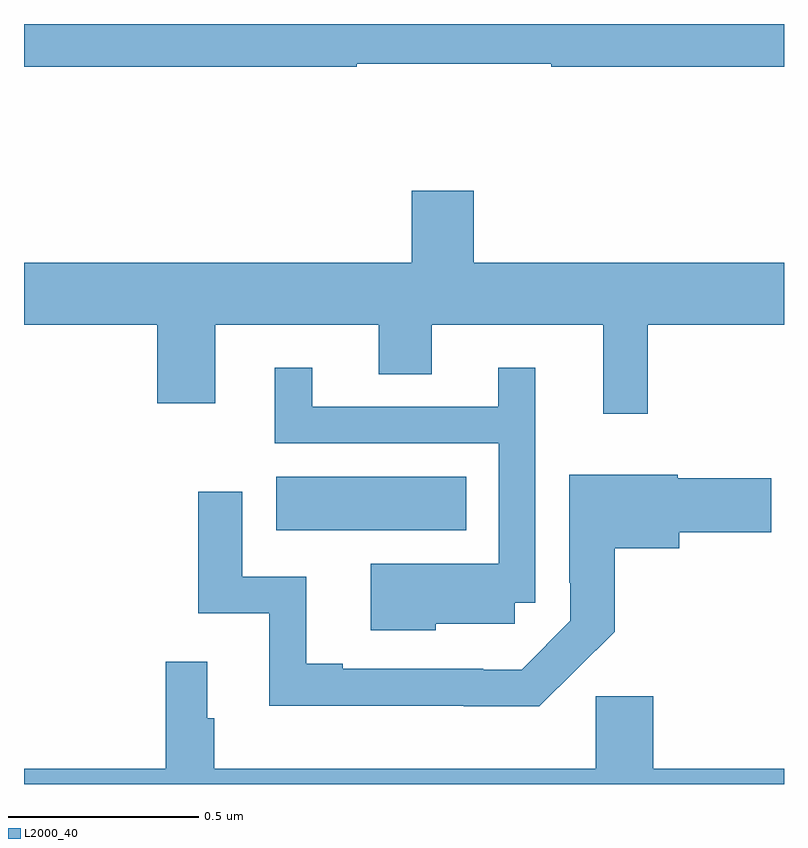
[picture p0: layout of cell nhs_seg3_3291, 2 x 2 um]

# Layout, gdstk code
import gdstk
lib = gdstk.Library(unit=1e-6, precision=1e-09)
def R(c, l, rs):  # rectangles x0, y0, x1, y1
    for r in rs: c.add(gdstk.rectangle(r[:2], r[2:], *l))
def P(c, l, *ps):  # polygons
    for p in ps: c.add(gdstk.Polygon(p, *l))
L2000_40 = (2000, 40)

nhs_seg3_3291 = lib.new_cell('nhs_seg3_3291')
R(nhs_seg3_3291, L2000_40, [(152.664,675.068,153.164,675.208)])
P(nhs_seg3_3291, L2000_40, [(152.875,676.296),(153.388,676.296),(153.388,676.288),(154,676.288),(154,676.4),(152,676.4),(152,676.288),(152.875,676.288)],
  [(153.02,675.961),(153.02,675.772),(152,675.772),(152,675.608),(152.351,675.608),(152.351,675.402),(152.503,675.402),(152.503,675.608),(152.933,675.608),(152.933,675.478),(153.073,675.478),(153.073,675.608),(153.524,675.608),(153.524,675.375),(153.641,675.375),(153.641,675.608),(154,675.608),(154,675.772),(153.184,675.772),(153.184,675.961)],
  [(153.084,674.822),(153.291,674.822),(153.291,674.877),(153.345,674.877),(153.345,675.496),(153.248,675.496),(153.248,675.393),(152.758,675.393),(152.758,675.496),(152.66,675.496),(152.66,675.297),(153.249,675.297),(153.249,674.98),(152.912,674.98),(152.912,674.804),(153.084,674.804)],
  [(153.554,674.801),(153.554,675.02),(153.724,675.02),(153.724,675.062),(153.967,675.062),(153.967,675.204),(153.72,675.204),(153.72,675.214),(153.435,675.214),(153.435,674.929),(153.438,674.929),(153.438,674.829),(153.31,674.701),(153.209,674.701),(153.209,674.703),(152.839,674.703),(152.839,674.716),(152.743,674.716),(152.743,674.946),(152.574,674.946),(152.574,675.169),(152.458,675.169),(152.458,674.85),(152.645,674.85),(152.645,674.606),(153.157,674.606),(153.157,674.604),(153.356,674.604)],
  [(154,674.44),(153.656,674.44),(153.656,674.631),(153.505,674.631),(153.505,674.44),(152.501,674.44),(152.501,674.573),(152.482,674.573),(152.482,674.722),(152.373,674.722),(152.373,674.44),(152,674.44),(152,674.4),(154,674.4)])

lib.write_gds('nhs_seg3_3291.gds')
